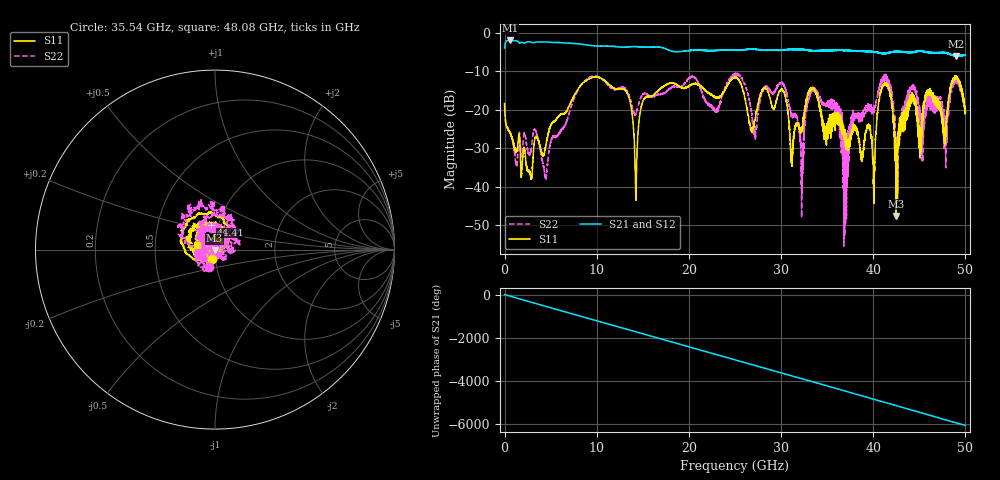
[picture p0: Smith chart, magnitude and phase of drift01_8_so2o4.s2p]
!Created with skrf (http://scikit-rf.org).
# Hz S RI R 50.0
!freq ReS11 ImS11 ReS21 ImS21 ReS12 ImS12 ReS22 ImS22
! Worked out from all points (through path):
!   10001 points, 300 kHz to 50 GHz, reference 50 ohm
!   highest |S21| = -2.00 dB at 570.3 MHz (marker M1); lowest = -6.1 dB at 48.98 GHz (marker M2)
!   group delay of S21, straight-line fit = 336 ps
!   lowest |S11| = -47.6 dB at 42.49 GHz (marker M3), VSWR 1.01, Z = 49.7 - j0.329 ohm
!   |S11| at or under -10 dB: start of sweep to end of sweep
!   |S22| runs from -55.5 to -10.5 dB; largest |S21 - S12| = 0.019
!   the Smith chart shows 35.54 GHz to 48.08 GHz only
!   S11 on the Smith chart (normalised r, x): 35.54 GHz: 0.97, -0.10; 44.41 GHz: 0.92, +0.26; 48.08 GHz: 0.82, +0.04
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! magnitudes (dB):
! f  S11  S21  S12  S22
! 300 kHz  -18.5  -4.0  -4.1  -18.2
! 570.3 MHz  -26.0  -2.0  -2.0  -26.1
! 4.435 GHz  -29.9  -2.4  -2.4  -37.1
! 8.335 GHz  -13.4  -3.0  -3.0  -13.5
! 13.16 GHz  -15.1  -3.8  -3.8  -14.7
! 14.25 GHz  -42.6  -3.6  -3.6  -21.0
! 16.67 GHz  -14.9  -3.7  -3.7  -15.9
! 25 GHz  -11.6  -4.5  -4.6  -11.1
! 27.14 GHz  -22.8  -4.3  -4.3  -25.8
! 30.2 GHz  -15.1  -4.5  -4.5  -13.4
! 31.14 GHz  -33.6  -4.3  -4.3  -21.5
! 32.25 GHz  -24.8  -4.3  -4.3  -37.1
! 33.34 GHz  -14.4  -4.6  -4.6  -14.9
! 35.54 GHz  -25.3  -4.6  -4.6  -19.8
! 37.03 GHz  -26.9  -4.5  -4.6  -30.0
! 40.06 GHz  -43.4  -4.9  -5.0  -20.7
! 41.67 GHz  -14.5  -5.1  -5.2  -12.6
! 42.49 GHz  -47.6  -4.8  -4.9  -30.5
! 44.41 GHz  -17.0  -5.0  -5.0  -14.4
! 48.08 GHz  -19.8  -5.3  -5.3  -20.1
! 48.98 GHz  -11.6  -6.1  -6.0  -12.8
! 50 GHz  -20.6  -5.8  -5.8  -19.7
